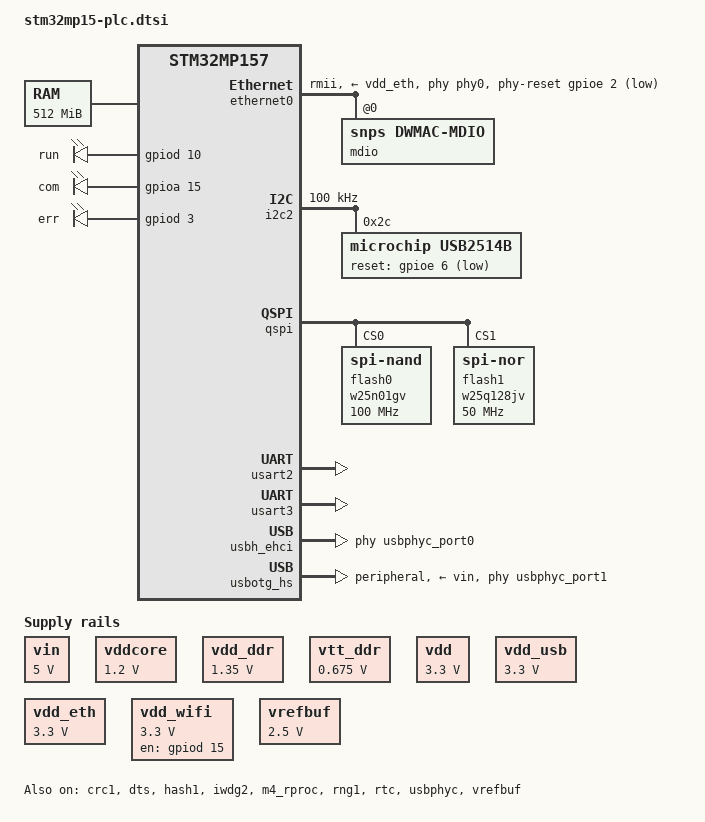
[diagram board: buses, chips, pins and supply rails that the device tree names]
// SPDX-License-Identifier: (GPL-2.0+ OR BSD-3-Clause)
/*
 * Copyright (C) STMicroelectronics 2019 - All Rights Reserved
 * Author: Alexandre Torgue <alexandre.torgue@st.com> for STMicroelectronics.
 */

#include "stm32mp157-m4-srm.dtsi"
#include "stm32mp157-m4-srm-pinctrl.dtsi"

/ {
	memory@c0000000 {
		device_type = "memory";
		reg = <0xC0000000 0x20000000>;
	};

	reserved-memory {
		#address-cells = <1>;
		#size-cells = <1>;
		ranges;

		mcuram2: mcuram2@10000000 {
			compatible = "shared-dma-pool";
			reg = <0x10000000 0x40000>;
			no-map;
		};

		vdev0vring0: vdev0vring0@10040000 {
			compatible = "shared-dma-pool";
			reg = <0x10040000 0x1000>;
			no-map;
		};

		vdev0vring1: vdev0vring1@10041000 {
			compatible = "shared-dma-pool";
			reg = <0x10041000 0x1000>;
			no-map;
		};

		vdev0buffer: vdev0buffer@10042000 {
			compatible = "shared-dma-pool";
			reg = <0x10042000 0x4000>;
			no-map;
		};

		mcuram: mcuram@30000000 {
			compatible = "shared-dma-pool";
			reg = <0x30000000 0x40000>;
			no-map;
		};

		retram: retram@38000000 {
			compatible = "shared-dma-pool";
			reg = <0x38000000 0x10000>;
			no-map;
		};
	};

	led {
		compatible = "gpio-leds";

		run {
			label = "run";
			gpios = <&gpiod 10 GPIO_ACTIVE_HIGH>;
			linux,default-trigger = "heartbeat";
			default-state = "off";
			status = "okay";
		};

		com {
			label = "com";
			gpios = <&gpioa 15 GPIO_ACTIVE_HIGH>;
			default-state = "off";
			status = "okay";
		};

		err {
			label = "err";
			gpios = <&gpiod 3 GPIO_ACTIVE_HIGH>;
			default-state = "off";
			status = "okay";
		};
	};

	vin: vin {
		compatible = "regulator-fixed";
		regulator-name = "vin";
		regulator-min-microvolt = <5000000>;
		regulator-max-microvolt = <5000000>;
		regulator-always-on;
		regulator-boot-on;
	};

	vddcore: vddcore {
		compatible = "regulator-fixed";
		regulator-name = "vddcore";
		regulator-min-microvolt = <1200000>;
		regulator-max-microvolt = <1200000>;
		regulator-always-on;
		regulator-boot-on;
		lp-stop {
			regulator-on-in-suspend;
		};
		standby-ddr-sr {
			regulator-off-in-suspend;
		};
		standby-ddr-off {
			regulator-off-in-suspend;
		};
	};

	vdd_ddr: vdd_ddr {
		compatible = "regulator-fixed";
		regulator-name = "vdd_ddr";
		regulator-min-microvolt = <1350000>;
		regulator-max-microvolt = <1350000>;
		regulator-always-on;
		regulator-boot-on;
		lp-stop {
			regulator-on-in-suspend;
		};
		standby-ddr-sr {
			regulator-on-in-suspend;
		};
		standby-ddr-off {
			regulator-off-in-suspend;
		};
	};

	vtt_ddr: vtt_ddr {
		compatible = "regulator-fixed";
		regulator-name = "vtt_ddr";
		regulator-min-microvolt = <675000>;
		regulator-max-microvolt = <675000>;
		regulator-always-on;
		regulator-boot-on;
		lp-stop {
			regulator-off-in-suspend;
		};
		standby-ddr-sr {
			regulator-off-in-suspend;
		};
		standby-ddr-off {
			regulator-off-in-suspend;
		};
	};

	vdd: vdd {
		compatible = "regulator-fixed";
		regulator-name = "vdd";
		regulator-min-microvolt = <3300000>;
		regulator-max-microvolt = <3300000>;
		regulator-always-on;
		regulator-boot-on;
		lp-stop {
			regulator-on-in-suspend;
		};
		standby-ddr-sr {
			regulator-on-in-suspend;
		};
		standby-ddr-off {
			regulator-on-in-suspend;
		};
	};

	vdd_usb: vdd_usb {
		compatible = "regulator-fixed";
		regulator-name = "vdd_usb";
		regulator-min-microvolt = <3300000>;
		regulator-max-microvolt = <3300000>;
		regulator-always-on;
		regulator-boot-on;
		standby-ddr-sr {
			regulator-on-in-suspend;
		};
		standby-ddr-off {
			regulator-on-in-suspend;
		};
	};

	vdd_eth: vdd_eth {
		compatible = "regulator-gpio";
		regulator-name = "vdd_eth";
		regulator-type = "voltage";
		regulator-min-microvolt = <3300000>;
		regulator-max-microvolt = <3300000>;
		gpios = <&gpioc 3 GPIO_ACTIVE_HIGH>;
       	gpios-states = <1>;
       	states = <3300000 1 0 0>;	
	};

	vdd_wifi: vdd_wifi {
		compatible = "regulator-gpio";
		regulator-name = "vdd_wifi";
		regulator-type = "voltage";
		regulator-min-microvolt = <3300000>;
		regulator-max-microvolt = <3300000>;
		enable-active-high;
		enable-gpios = <&gpiod 15 GPIO_ACTIVE_HIGH>;
		states = <3300000 0>;
	};
};

&adc {
	pinctrl-names = "default";
	pinctrl-0 = <&adc12_pins_default>;
	vdd-supply = <&vdd>;
	vdda-supply = <&vdd>;
	vref-supply = <&vrefbuf>;
	status = "disabled";
	adc1: adc@0 {
		/*
		 * Power supply voltage
		 */
		st,min-sample-time-nsecs = <5000>;
		st,adc-channels = <3>;
		status = "okay";
	};

	adc2: adc@100 {
		status = "okay";
	};
};

&cpu0{
	cpu-supply = <&vddcore>;
};

&cpu1{
	cpu-supply = <&vddcore>;
};

&crc1 {
	status = "okay";
};

&dma1 {
	sram = <&dma_pool>;
};

&dma2 {
	sram = <&dma_pool>;
};

&dts {
	status = "okay";
};

&ethernet0 {
	status = "okay";
	pinctrl-names = "default", "sleep";
	pinctrl-0 = <&eth0_pins_default>;
	pinctrl-1 = <&eth0_pins_sleep>;
	max-speed = <100>;
	phy-mode = "rmii";
	phy-supply = <&vdd_eth>;
	phy-handle = <&phy0>;
	phy-reset-gpios = <&gpioe 2 GPIO_ACTIVE_LOW>;
	phy-reset-duration = <10>; /* millisecond */

	mdio: ksz8794@0 {
		#address-cells = <1>;
		#size-cells = <0>;
		compatible = "snps,dwmac-mdio";

		phy0: ksz8794-phy@0 {
			compatible = "ethernet-phy-ieee802.3-c22";
			reg = <0>;
		};
	};
};

&hash1 {
	status = "okay";
};

&i2c2 {
	pinctrl-names = "default", "sleep";
	pinctrl-0 = <&i2c2_pins_default>;
	pinctrl-1 = <&i2c2_pins_sleep>;
	clock-frequency = <100000>;
	status = "okay";
	/* spare dmas for other usage */
	/delete-property/dmas;
	/delete-property/dma-names;

	usb2514b: usb-hub@2c {
		compatible = "microchip,usb2514b";
		reg = <0x2c>;
		reset-gpios = <&gpioe 6 GPIO_ACTIVE_LOW>;
		string-support;
		manufacturer = "GMT Control";
		product = "smartPLC-SBC";
		serial = "1234567890A";
		/* correct misplaced usb connectors on port 1,2 */
		swap-dx-lanes = <1 2>;

		/* modem on port 1 */
		/* gnss on port 2 */
	};
};

&ipcc {
	status = "okay";
};

&iwdg2 {
	timeout-sec = <32>;
	status = "okay";
};

&m4_rproc {
	memory-region = <&retram>, <&mcuram>, <&mcuram2>, <&vdev0vring0>,
			<&vdev0vring1>, <&vdev0buffer>;
	mboxes = <&ipcc 0>, <&ipcc 1>, <&ipcc 2>;
	mbox-names = "vq0", "vq1", "shutdown";
	interrupt-parent = <&exti>;
	interrupts = <68 1>;
	wakeup-source;
	status = "okay";
};

&pwr_regulators {
	vdd-supply = <&vdd>;
	vdd_3v3_usbfs-supply = <&vdd_usb>;
};

&rng1 {
	status = "okay";
};

&rtc {
	status = "okay";
};

&sdmmc1 {
	arm,primecell-periphid = <0x10153180>;
	pinctrl-names = "default", "opendrain", "sleep";
	pinctrl-0 = <&sdmmc1_pins_default>;
	pinctrl-1 = <&sdmmc1_pins_opendrain>;
	pinctrl-2 = <&sdmmc1_pins_sleep>;
	non-removable;
	st,neg-edge;
	bus-width = <4>;
	vmmc-supply = <&vdd_wifi>;
	mmc-pwrseq = <&wifi_pwrseq>;
	#address-cells = <1>;
	#size-cells = <0>;
	status = "disabled";
};

&sram {
	dma_pool: dma_pool@0 {
		reg = <0x50000 0x10000>;
		pool;
	};
};

&timers1 {
	/* spare dmas for other usage */
	/delete-property/dmas;
	/delete-property/dma-names;
	status = "disabled";
	timer@0 {
		status = "okay";
	};
};

&timers3 {
	/* spare dmas for other usage */
	/delete-property/dmas;
	/delete-property/dma-names;
	status = "disabled";
	timer@2 {
		status = "okay";
	};
};

&timers4 {
	/* spare dmas for other usage */
	/delete-property/dmas;
	/delete-property/dma-names;
	status = "disabled";
	timer@3 {
		status = "okay";
	};
};

&timers5 {
	/* spare dmas for other usage */
	/delete-property/dmas;
	/delete-property/dma-names;
	status = "disabled";
	timer@4 {
		status = "okay";
	};
};

&timers6 {
	/* spare dmas for other usage */
	/delete-property/dmas;
	/delete-property/dma-names;
	status = "disabled";
	timer@5 {
		status = "okay";
	};
};

&timers12 {
	/* spare dmas for other usage */
	/delete-property/dmas;
	/delete-property/dma-names;
	status = "disabled";
	timer@11 {
		status = "okay";
	};
};

&qspi {                                                    
	pinctrl-names = "default", "sleep";
	pinctrl-0 = <&qspi_clk_pins_default &qspi_bk1_pins_default &qspi_bk2_pins_default>;
	pinctrl-1 = <&qspi_clk_pins_sleep &qspi_bk1_pins_sleep &qspi_bk2_pins_sleep>;
	reg = <0x58003000 0x1000>, <0x70000000 0x8000000>;
	#address-cells = <1>;
	#size-cells = <0>;
	status = "okay";

	flash0: w25n01gv@0 {                             
		compatible = "spi-nand";
		reg = <0>;
		spi-rx-bus-width = <4>;
		spi-tx-bus-width = <4>;
		spi-max-frequency = <100000000>;
		#address-cells = <1>;
		#size-cells = <1>;
	};

	flash1: w25q128jv@1 {
		compatible = "jedec,spi-nor";
		reg = <1>;
		spi-rx-bus-width = <4>;
		spi-tx-bus-width = <1>;
		spi-max-frequency = <50000000>;
		#address-cells = <1>;
		#size-cells = <1>;
	};
};

&usart2 {
	pinctrl-names = "default", "sleep";
	pinctrl-0 = <&usart2_pins_default>;
	pinctrl-1 = <&usart2_pins_sleep>;
	status = "okay";
};

&usart3 {
	pinctrl-names = "default", "sleep";
	pinctrl-0 = <&usart3_pins_default>;
	pinctrl-1 = <&usart3_pins_sleep>;
	status = "okay";
};

&usbphyc {
	status = "okay";
};

&usbphyc_port0 {
	phy-supply = <&vdd_usb>;
	vdda1v1-supply = <&reg11>;
	vdda1v8-supply = <&reg18>;
};

&usbphyc_port1 {
	phy-supply = <&vdd_usb>;
	vdda1v1-supply = <&reg11>;
	vdda1v8-supply = <&reg18>;
};

&usbh_ehci {
	phys = <&usbphyc_port0>;
	status = "okay";
};

&usbotg_hs {
	vbus-supply = <&vin>;
	vusb_d-supply = <&vdd_usb>;
	vusb_a-supply = <&reg18>;
	phys = <&usbphyc_port1 0>;
	phy-names = "usb2-phy";
	dr_mode = "peripheral";
	status = "okay";
};

&vrefbuf {
	regulator-min-microvolt = <2500000>;
	regulator-max-microvolt = <2500000>;
	vdda-supply = <&vdd>;
	status = "okay";
};
